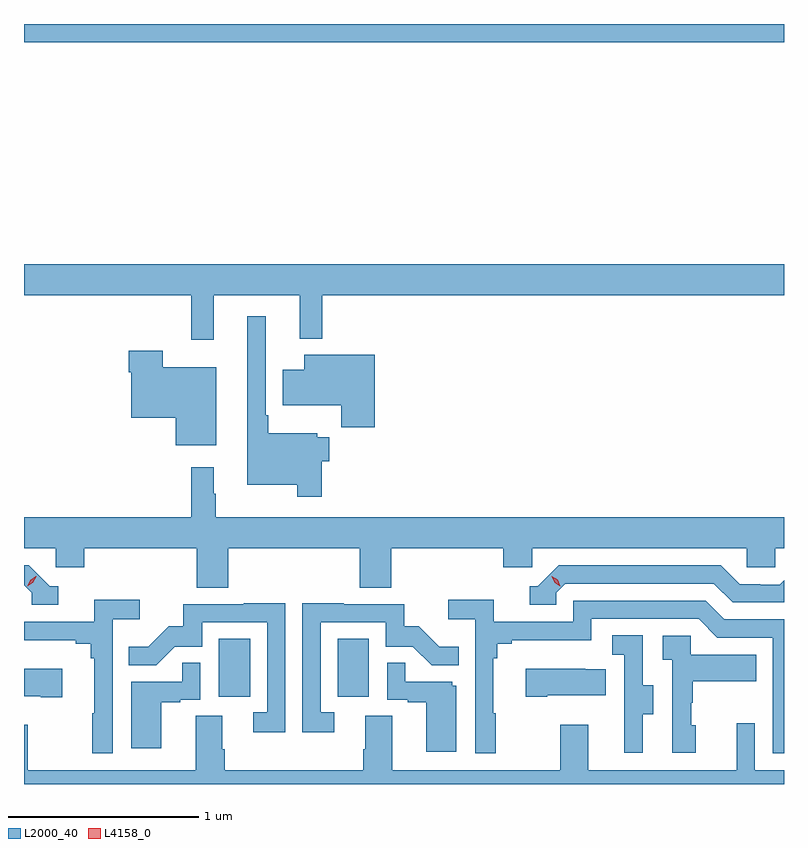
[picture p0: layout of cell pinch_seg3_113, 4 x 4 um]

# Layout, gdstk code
import gdstk
lib = gdstk.Library(unit=1e-6, precision=1e-09)
def R(c, l, rs):  # rectangles x0, y0, x1, y1
    for r in rs: c.add(gdstk.rectangle(r[:2], r[2:], *l))
def P(c, l, *ps):  # polygons
    for p in ps: c.add(gdstk.Polygon(p, *l))
L2000_40 = (2000, 40)
L4158_0 = (4158, 0)

pinch_seg3_113 = lib.new_cell('pinch_seg3_113')
R(pinch_seg3_113, L2000_40, [(1032.716,713.454,1032.88,713.761), (1033.34,713.454,1033.504,713.761), (1031.69,716.9,1035.69,716.996)])
P(pinch_seg3_113, L2000_40, [(1032.689,715.568),(1033.142,715.568),(1033.142,715.34),(1033.259,715.34),(1033.259,715.568),(1035.69,715.568),(1035.69,715.732),(1031.69,715.732),(1031.69,715.568),(1032.571,715.568),(1032.571,715.335),(1032.689,715.335)],
  [(1033.256,714.694),(1033.297,714.694),(1033.297,714.821),(1033.233,714.821),(1033.233,714.841),(1032.976,714.841),(1032.976,714.937),(1032.963,714.937),(1032.963,715.459),(1032.866,715.459),(1032.866,714.572),(1033.128,714.572),(1033.128,714.507),(1033.256,714.507)],
  [(1032.703,715.189),(1032.42,715.189),(1032.42,715.276),(1032.242,715.276),(1032.242,715.163),(1032.254,715.163),(1032.254,714.923),(1032.488,714.923),(1032.488,714.779),(1032.703,714.779)],
  [(1033.535,715.255),(1033.166,715.255),(1033.166,715.177),(1033.052,715.177),(1033.052,714.989),(1033.359,714.989),(1033.359,714.873),(1033.535,714.873)],
  [(1032.764,714.236),(1033.457,714.236),(1033.457,714.028),(1033.622,714.028),(1033.622,714.236),(1034.213,714.236),(1034.213,714.138),(1034.364,714.138),(1034.364,714.236),(1035.495,714.236),(1035.495,714.138),(1035.645,714.138),(1035.645,714.236),(1035.69,714.236),(1035.69,714.4),(1032.7,714.4),(1032.7,714.524),(1032.688,714.524),(1032.688,714.664),(1032.571,714.664),(1032.571,714.4),(1031.69,714.4),(1031.69,714.236),(1031.856,714.236),(1031.856,714.138),(1032.007,714.138),(1032.007,714.236),(1032.599,714.236),(1032.599,714.028),(1032.764,714.028)],
  [(1031.869,714.036),(1031.826,714.036),(1031.715,714.147),(1031.69,714.147),(1031.69,714.043),(1031.73,714.003),(1031.73,713.94),(1031.869,713.94)],
  [(1034.49,714.003),(1034.538,714.051),(1035.321,714.051),(1035.42,713.952),(1035.69,713.952),(1035.69,714.069),(1035.667,714.045),(1035.564,714.045),(1035.564,714.048),(1035.457,714.048),(1035.358,714.147),(1034.505,714.147),(1034.394,714.036),(1034.351,714.036),(1034.351,713.94),(1034.49,713.94)],
  [(1032.156,713.864),(1032.298,713.864),(1032.298,713.966),(1032.059,713.966),(1032.059,713.85),(1031.69,713.85),(1031.69,713.753),(1031.963,713.753),(1031.963,713.734),(1032.04,713.734),(1032.04,713.657),(1032.059,713.657),(1032.059,713.369),(1032.048,713.369),(1032.048,713.157),(1032.156,713.157)],
  [(1034.173,713.369),(1034.161,713.369),(1034.161,713.657),(1034.18,713.657),(1034.18,713.734),(1034.257,713.734),(1034.257,713.753),(1034.676,713.753),(1034.676,713.865),(1035.24,713.865),(1035.339,713.766),(1035.63,713.766),(1035.63,713.157),(1035.69,713.157),(1035.69,713.862),(1035.376,713.862),(1035.277,713.961),(1034.58,713.961),(1034.58,713.85),(1034.162,713.85),(1034.162,713.966),(1033.923,713.966),(1033.923,713.864),(1034.064,713.864),(1034.064,713.157),(1034.173,713.157)],
  [(1033.324,713.373),(1033.251,713.373),(1033.251,713.847),(1033.593,713.847),(1033.593,713.718),(1033.737,713.718),(1033.835,713.62),(1033.979,713.62),(1033.979,713.719),(1033.875,713.719),(1033.768,713.826),(1033.692,713.826),(1033.692,713.943),(1033.373,713.943),(1033.373,713.948),(1033.155,713.948),(1033.155,713.268),(1033.324,713.268)],
  [(1033.065,713.948),(1032.847,713.948),(1032.847,713.943),(1032.529,713.943),(1032.529,713.826),(1032.452,713.826),(1032.345,713.719),(1032.241,713.719),(1032.241,713.62),(1032.385,713.62),(1032.483,713.718),(1032.627,713.718),(1032.627,713.847),(1032.969,713.847),(1032.969,713.373),(1032.897,713.373),(1032.897,713.268),(1033.065,713.268)],
  [(1034.947,713.362),(1035.001,713.362),(1035.001,713.517),(1034.946,713.517),(1034.946,713.78),(1034.787,713.78),(1034.787,713.677),(1034.85,713.677),(1034.85,713.373),(1034.849,713.373),(1034.849,713.16),(1034.947,713.16)],
  [(1035.226,713.304),(1035.201,713.304),(1035.201,713.423),(1035.211,713.423),(1035.211,713.537),(1035.545,713.537),(1035.545,713.677),(1035.198,713.677),(1035.198,713.775),(1035.051,713.775),(1035.051,713.651),(1035.102,713.651),(1035.102,713.16),(1035.226,713.16)],
  [(1033.966,713.514),(1033.944,713.514),(1033.944,713.535),(1033.697,713.535),(1033.697,713.633),(1033.602,713.633),(1033.602,713.439),(1033.709,713.439),(1033.709,713.427),(1033.808,713.427),(1033.808,713.166),(1033.966,713.166)],
  [(1032.412,713.427),(1032.512,713.427),(1032.512,713.439),(1032.618,713.439),(1032.618,713.633),(1032.523,713.633),(1032.523,713.535),(1032.254,713.535),(1032.254,713.184),(1032.412,713.184)],
  [(1034.443,713.462),(1034.753,713.462),(1034.753,713.599),(1034.645,713.599),(1034.645,713.602),(1034.331,713.602),(1034.331,713.455),(1034.443,713.455)],
  [(1031.89,713.602),(1031.69,713.602),(1031.69,713.459),(1031.777,713.459),(1031.777,713.452),(1031.89,713.452)],
  [(1035.69,713.068),(1035.537,713.068),(1035.537,713.317),(1035.44,713.317),(1035.44,713.068),(1034.659,713.068),(1034.659,713.308),(1034.512,713.308),(1034.512,713.068),(1033.627,713.068),(1033.627,713.354),(1033.487,713.354),(1033.487,713.18),(1033.475,713.18),(1033.475,713.068),(1032.746,713.068),(1032.746,713.18),(1032.733,713.18),(1032.733,713.354),(1032.593,713.354),(1032.593,713.068),(1031.709,713.068),(1031.709,713.308),(1031.69,713.308),(1031.69,712.996),(1035.69,712.996)])
P(pinch_seg3_113, L4158_0, [(1031.706,714.036),(1031.706,714.037),(1031.723,714.069),(1031.753,714.089),(1031.754,714.089),(1031.754,714.088),(1031.737,714.056),(1031.707,714.036)],
  [(1034.513,714.037),(1034.483,714.056),(1034.467,714.089),(1034.467,714.09),(1034.468,714.09),(1034.498,714.07),(1034.513,714.037),(1034.513,714.037)])

lib.write_gds('pinch_seg3_113.gds')
